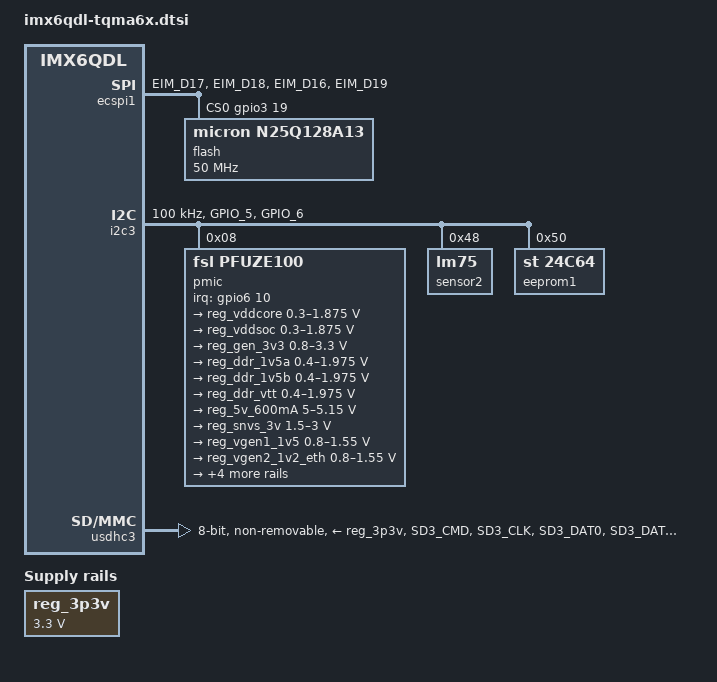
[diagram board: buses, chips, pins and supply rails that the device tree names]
/*
 * Copyright 2013 Sascha Hauer, Pengutronix
 *
 * The code contained herein is licensed under the GNU General Public
 * License. You may obtain a copy of the GNU General Public License
 * Version 2 or later at the following locations:
 *
 * http://www.opensource.org/licenses/gpl-license.html
 * http://www.gnu.org/copyleft/gpl.html
 */

/ {
	regulators {
		compatible = "simple-bus";

		reg_3p3v: fixed@0 {
				compatible = "regulator-fixed";
				regulator-name = "3P3V";
				regulator-min-microvolt = <3300000>;
				regulator-max-microvolt = <3300000>;
				regulator-always-on;
		};
	};
};

&ecspi1 {
	pinctrl-names = "default";
	pinctrl-0 = <&pinctrl_ecspi1_tqma6x>;
	fsl,spi-num-chipselects = <1>;
	cs-gpios = <&gpio3 19 0>;
	status = "okay";

	flash: m25p80@0 {
		status = "okay";
		compatible = "micron,n25q128a13", "n25q128a13";
		spi-max-frequency = <50000000>;
		reg = <0>;
		#address-cells = <1>;
		#size-cells = <1>;
		m25p,fast-read;
	};
};

&i2c3 {
	status = "okay";
	clock-frequency = <100000>;
	pinctrl-names = "default";
	pinctrl-0 = <&pinctrl_i2c3_2>;

	pmic: pf0100@08 {
		compatible = "fsl,pfuze100";
		reg = <0x08>;
		interrupt-parent = <&gpio6>;
		interrupts = <10 8>;

		regulators {
			reg_vddcore: sw1ab {
				regulator-min-microvolt = <300000>;
				regulator-max-microvolt = <1875000>;
				regulator-always-on;
			};

			reg_vddsoc: sw1c {
				regulator-min-microvolt = <300000>;
				regulator-max-microvolt = <1875000>;
				regulator-always-on;
			};

			reg_gen_3v3: sw2 {
				regulator-min-microvolt = <800000>;
				regulator-max-microvolt = <3300000>;
				regulator-always-on;
			};

			reg_ddr_1v5a: sw3a {
				regulator-min-microvolt = <400000>;
				regulator-max-microvolt = <1975000>;
				regulator-always-on;
			};

			reg_ddr_1v5b: sw3b {
				regulator-min-microvolt = <400000>;
				regulator-max-microvolt = <1975000>;
				regulator-always-on;
			};

			reg_ddr_vtt: sw4 {
				regulator-min-microvolt = <400000>;
				regulator-max-microvolt = <1975000>;
				regulator-always-on;
			};

			reg_5v_600mA: swbst {
				regulator-min-microvolt = <5000000>;
				regulator-max-microvolt = <5150000>;
				regulator-always-on;
			};

			reg_snvs_3v: vsnvs {
				regulator-min-microvolt = <1500000>;
				regulator-max-microvolt = <3000000>;
				regulator-always-on;
			};

			reg_vrefddr: vrefddr {
				regulator-boot-on;
				regulator-always-on;
			};

			reg_vgen1_1v5: vgen1 {
				regulator-min-microvolt = <800000>;
				regulator-max-microvolt = <1550000>;
				/* not used */
			};

			reg_vgen2_1v2_eth: vgen2 {
				regulator-min-microvolt = <800000>;
				regulator-max-microvolt = <1550000>;
				regulator-always-on;
			};

			reg_vgen3_2v8: vgen3 {
				regulator-min-microvolt = <1800000>;
				regulator-max-microvolt = <3300000>;
				regulator-always-on;
			};

			reg_vgen4_1v8: vgen4 {
				regulator-min-microvolt = <1800000>;
				regulator-max-microvolt = <3300000>;
				regulator-always-on;
			};

			reg_vgen5_1v8_eth: vgen5 {
				regulator-min-microvolt = <1800000>;
				regulator-max-microvolt = <3300000>;
				regulator-always-on;
			};

			reg_vgen6_3v3: vgen6 {
				regulator-min-microvolt = <1800000>;
				regulator-max-microvolt = <3300000>;
				regulator-always-on;
			};
		};
	};

	sensor2: lm75@48 {
		compatible = "lm75";
		reg = <0x48>;
	};

	eeprom1: m24c64@50 {
		compatible = "st,24c64", "at24";
		reg = <0x50>;
		pagesize = <32>;
	};
};

&iomuxc {
	ecspi1 {
		pinctrl_ecspi1_tqma6x: ecspi1grp-tqma6x {
			fsl,pins = <
				/* HYS, SPEED = MED, 100k up, DSE = 011, SRE_FAST */
				MX6QDL_PAD_EIM_D17__ECSPI1_MISO 0x1b099
				MX6QDL_PAD_EIM_D18__ECSPI1_MOSI 0xb099
				MX6QDL_PAD_EIM_D16__ECSPI1_SCLK 0xb099
				MX6QDL_PAD_EIM_D19__GPIO3_IO19 0xb099 /* eCSPI1 SS1 */
			>;
		};
	};

	enet {
		pinctrl_enet_tqma6x_1: enetgrp-tqma6x-1 {
			fsl,pins = <
				/* DSE = 100, 100k up, SPEED = MED */
				MX6QDL_PAD_ENET_MDIO__ENET_MDIO       0xb0a0
				MX6QDL_PAD_ENET_MDC__ENET_MDC         0xb0a0
				/* DSE = 111, pull 100k up */
				MX6QDL_PAD_RGMII_TXC__RGMII_TXC       0xb038
				MX6QDL_PAD_RGMII_TD0__RGMII_TD0       0xb038
				MX6QDL_PAD_RGMII_TD1__RGMII_TD1       0xb038
				MX6QDL_PAD_RGMII_TD2__RGMII_TD2       0xb038
				MX6QDL_PAD_RGMII_TD3__RGMII_TD3       0xb038
				MX6QDL_PAD_RGMII_TX_CTL__RGMII_TX_CTL 0xb038
				/* DSE = 111, pull external */
				MX6QDL_PAD_RGMII_RXC__RGMII_RXC       0x0038
				MX6QDL_PAD_RGMII_RD0__RGMII_RD0       0x0038
				MX6QDL_PAD_RGMII_RD1__RGMII_RD1       0x0038
				MX6QDL_PAD_RGMII_RD2__RGMII_RD2       0x0038
				MX6QDL_PAD_RGMII_RD3__RGMII_RD3       0x0038
				MX6QDL_PAD_RGMII_RX_CTL__RGMII_RX_CTL 0x0038
				/* HYS = 1, DSE = 111, 100k up, SPEED = HIGH */
				MX6QDL_PAD_ENET_REF_CLK__ENET_TX_CLK  0x1b0f0
			>;
		};
	};

	i2c3 {
		pinctrl_i2c3_2: i2c3grp-2 {
			fsl,pins = <
				MX6QDL_PAD_GPIO_5__I2C3_SCL 0x4001b8b1
				MX6QDL_PAD_GPIO_6__I2C3_SDA 0x4001b8b1
			>;
		};
	};

	uart2 {
		pinctrl_uart2_2: uart2grp-2 {
			fsl,pins = <
				MX6QDL_PAD_SD4_DAT4__UART2_RX_DATA 0x1b099
				MX6QDL_PAD_SD4_DAT7__UART2_TX_DATA 0x1b099
			>;
		};
	};

	usdhc3 {
		pinctrl_usdhc3: usdhc3grp {
			fsl,pins = <
				MX6QDL_PAD_SD3_CMD__SD3_CMD    0x17059
				MX6QDL_PAD_SD3_CLK__SD3_CLK    0x10059
				MX6QDL_PAD_SD3_DAT0__SD3_DATA0 0x17059
				MX6QDL_PAD_SD3_DAT1__SD3_DATA1 0x17059
				MX6QDL_PAD_SD3_DAT2__SD3_DATA2 0x17059
				MX6QDL_PAD_SD3_DAT3__SD3_DATA3 0x17059
				MX6QDL_PAD_SD3_DAT4__SD3_DATA4 0x17059
				MX6QDL_PAD_SD3_DAT5__SD3_DATA5 0x17059
				MX6QDL_PAD_SD3_DAT6__SD3_DATA6 0x17059
				MX6QDL_PAD_SD3_DAT7__SD3_DATA7 0x17059
			>;
		};

		pinctrl_usdhc3_100mhz: usdhc3grp-100mhz { /* 100Mhz */
			fsl,pins = <
				MX6QDL_PAD_SD3_CMD__SD3_CMD 0x170b9
				MX6QDL_PAD_SD3_CLK__SD3_CLK 0x100b9
				MX6QDL_PAD_SD3_DAT0__SD3_DATA0 0x170b9
				MX6QDL_PAD_SD3_DAT1__SD3_DATA1 0x170b9
				MX6QDL_PAD_SD3_DAT2__SD3_DATA2 0x170b9
				MX6QDL_PAD_SD3_DAT3__SD3_DATA3 0x170b9
				MX6QDL_PAD_SD3_DAT4__SD3_DATA4 0x170b9
				MX6QDL_PAD_SD3_DAT5__SD3_DATA5 0x170b9
				MX6QDL_PAD_SD3_DAT6__SD3_DATA6 0x170b9
				MX6QDL_PAD_SD3_DAT7__SD3_DATA7 0x170b9
			>;
		};

		pinctrl_usdhc3_200mhz: usdhc3grp-200mhz { /* 200Mhz */
			fsl,pins = <
				MX6QDL_PAD_SD3_CMD__SD3_CMD 0x170f9
				MX6QDL_PAD_SD3_CLK__SD3_CLK 0x100f9
				MX6QDL_PAD_SD3_DAT0__SD3_DATA0 0x170f9
				MX6QDL_PAD_SD3_DAT1__SD3_DATA1 0x170f9
				MX6QDL_PAD_SD3_DAT2__SD3_DATA2 0x170f9
				MX6QDL_PAD_SD3_DAT3__SD3_DATA3 0x170f9
				MX6QDL_PAD_SD3_DAT4__SD3_DATA4 0x170f9
				MX6QDL_PAD_SD3_DAT5__SD3_DATA5 0x170f9
				MX6QDL_PAD_SD3_DAT6__SD3_DATA6 0x170f9
				MX6QDL_PAD_SD3_DAT7__SD3_DATA7 0x170f9
			>;
		};
	};
};

&usdhc3 { /* eMMC */
	pinctrl-names = "default";
	pinctrl-0 = <&pinctrl_usdhc3>;
	vmmc-supply = <&reg_3p3v>;
	non-removable;
	bus-width = <8>;
	status = "okay";
};

&wdog1 {
	fsl,use-wdt;
};
